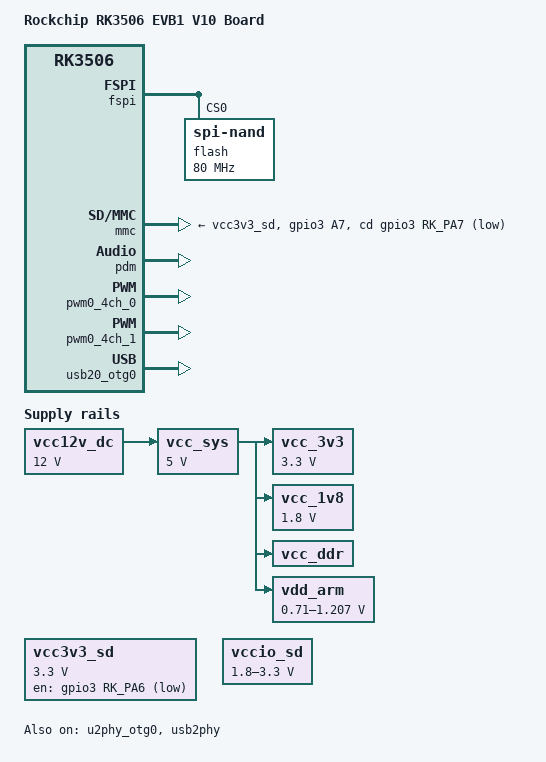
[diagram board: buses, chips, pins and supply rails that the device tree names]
// SPDX-License-Identifier: (GPL-2.0+ OR MIT)
/*
 * Copyright (c) 2024 Rockchip Electronics Co., Ltd.
 */

/dts-v1/;

#include "rk3506.dtsi"

/ {
	model = "Rockchip RK3506 EVB1 V10 Board";
	compatible = "rockchip,rk3506-evb1-v10", "rockchip,rk3506";

	chosen {
		bootargs = "earlycon=uart8250,mmio32,0xff0a0000 console=ttyFIQ0 ubi.mtd=5 ubi.block=0,rootfs root=/dev/ubiblock0_0 rootfstype=squashfs rootwait snd_aloop.index=7 snd_aloop.use_raw_jiffies=1";
	};

	fiq_debugger: fiq-debugger {
		compatible = "rockchip,fiq-debugger";
		rockchip,serial-id = <0>;
		rockchip,wake-irq = <0>;
		rockchip,irq-mode-enable = <1>;
		rockchip,baudrate = <1500000>;	/* Only 115200 and 1500000 */
		interrupts = <GIC_SPI 115 IRQ_TYPE_LEVEL_HIGH>;
	};

	pdmics: dummy-codec {
		compatible = "rockchip,dummy-codec";
		#sound-dai-cells = <0>;
	};

	pdm_mic_array: pdm-mic-array {
		status = "disabled";
		compatible = "simple-audio-card";
		simple-audio-card,name = "rockchip,pdm-mic-array";
		simple-audio-card,cpu {
			sound-dai = <&pdm>;
		};
		simple-audio-card,codec {
			sound-dai = <&pdmics>;
		};
	};

	vcc12v_dc: vcc12v-dc {
		compatible = "regulator-fixed";
		regulator-name = "vcc12v_dc";
		regulator-always-on;
		regulator-boot-on;
		regulator-min-microvolt = <12000000>;
		regulator-max-microvolt = <12000000>;
	};

	vcc_sys: vcc-sys {
		compatible = "regulator-fixed";
		regulator-name = "vcc_sys";
		regulator-always-on;
		regulator-boot-on;
		regulator-min-microvolt = <5000000>;
		regulator-max-microvolt = <5000000>;
		vin-supply = <&vcc12v_dc>;
	};

	vcc_3v3: vcc-3v3 {
		compatible = "regulator-fixed";
		regulator-name = "vcc_3v3";
		regulator-always-on;
		regulator-boot-on;
		regulator-min-microvolt = <3300000>;
		regulator-max-microvolt = <3300000>;
		vin-supply = <&vcc_sys>;
	};

	vcc3v3_sd: vcc3v3-sd {
		compatible = "regulator-fixed";
		gpio = <&gpio3 RK_PA6 GPIO_ACTIVE_LOW>;
		regulator-name = "vcc3v3_sd";
		regulator-min-microvolt = <3300000>;
		regulator-max-microvolt = <3300000>;
		pinctrl-names = "default";
		pinctrl-0 = <&sdmmc_pwren>;
	};

	vccio_sd: vccio-sd {
		compatible = "regulator-gpio";
		regulator-name = "vccio_sd";
		regulator-min-microvolt = <1800000>;
		regulator-max-microvolt = <3300000>;
		gpios = <&gpio0 RK_PA0 GPIO_ACTIVE_HIGH>;
		states = <3300000 1
			  1800000 0>;
		pinctrl-names = "default";
		pinctrl-0 = <&sdmmc_volt>;
	};

	vcc_1v8: vcc-1v8 {
		compatible = "regulator-fixed";
		regulator-name = "vcc_1v8";
		regulator-always-on;
		regulator-boot-on;
		regulator-min-microvolt = <1800000>;
		regulator-max-microvolt = <1800000>;
		vin-supply = <&vcc_sys>;
	};

	vcc_ddr: vcc-ddr {
		compatible = "regulator-fixed";
		regulator-name = "vcc_ddr";
		regulator-always-on;
		regulator-boot-on;
		vin-supply = <&vcc_sys>;
	};

	vdd_arm: vdd-arm {
		compatible = "pwm-regulator";
		pwms = <&pwm0_4ch_0 0 5000 1>;
		regulator-name = "vdd_arm";
		regulator-min-microvolt = <710000>;
		regulator-max-microvolt = <1207000>;
		regulator-init-microvolt = <1011000>;
		regulator-always-on;
		regulator-boot-on;
		regulator-settling-time-up-us = <250>;
		pwm-supply = <&vcc_sys>;
	};
};

&cpu0 {
	cpu-supply = <&vdd_arm>;
};

&fspi {
	status = "okay";

	flash@0 {
		compatible = "spi-nand";
		reg = <0>;
		spi-max-frequency = <80000000>;
		spi-rx-bus-width = <4>;
		spi-tx-bus-width = <1>;
	};
};

&mmc {
	/* For SDMMC */
	no-sdio;
	no-mmc;
	cap-mmc-highspeed;
	cap-sd-highspeed;
	cd-gpios = <&gpio3 RK_PA7 GPIO_ACTIVE_LOW>;
	disable-wp;
	sd-uhs-sdr104;
	pinctrl-names = "default";
	pinctrl-0 = <&sdmmc_clk_pins &sdmmc_cmd_pins &sdmmc_bus4_pins &sdmmc_det>;
	vqmmc-supply = <&vccio_sd>;
	vmmc-supply = <&vcc3v3_sd>;

	/* For eMMC
	 * no-sdio;
	 * no-sd;
	 * cap-mmc-highspeed;
	 * cap-sd-highspeed;
	 * non-removable;
	 * mmc-hs200-1_8v;
	 * pinctrl-names = "default";
	 * pinctrl-0 = <&sdmmc_clk_pins &sdmmc_cmd_pins &sdmmc_bus4_pins>;
	 * vqmmc-supply = <&vccio_sd>;
	 * vmmc-supply = <&vcc3v3_sd>;
	 */
	status = "okay";
};

&pdm {
	status = "okay";
};

&pinctrl {
	sdmmc {
		/omit-if-no-ref/
		sdmmc_pwren: sdmmc-pwren {
			rockchip,pins = <3 RK_PA6 RK_FUNC_GPIO &pcfg_pull_none>;
		};
		/omit-if-no-ref/
		sdmmc_volt: sdmmc-volt {
			rockchip,pins = <0 RK_PA0 RK_FUNC_GPIO &pcfg_pull_none>;
		};
		/omit-if-no-ref/
		sdmmc_det: sdmmc-det {
			rockchip,pins = <3 RK_PA7 RK_FUNC_GPIO &pcfg_pull_up>;
		};
	};
};

&pwm0_4ch_0 {
	pinctrl-names = "active";
	pinctrl-0 = <&rm_io21_pwm0_ch0>;
	status = "okay";
};

&pwm0_4ch_1 {
	pinctrl-names = "active";
	pinctrl-0 = <&rm_io20_pwm0_ch1>;
	status = "okay";
};

&u2phy_otg0 {
	rockchip,vbus-always-on;
	status = "okay";
};

&usb2phy {
	status = "okay";
};

&usb20_otg0 {
	status = "okay";
};
